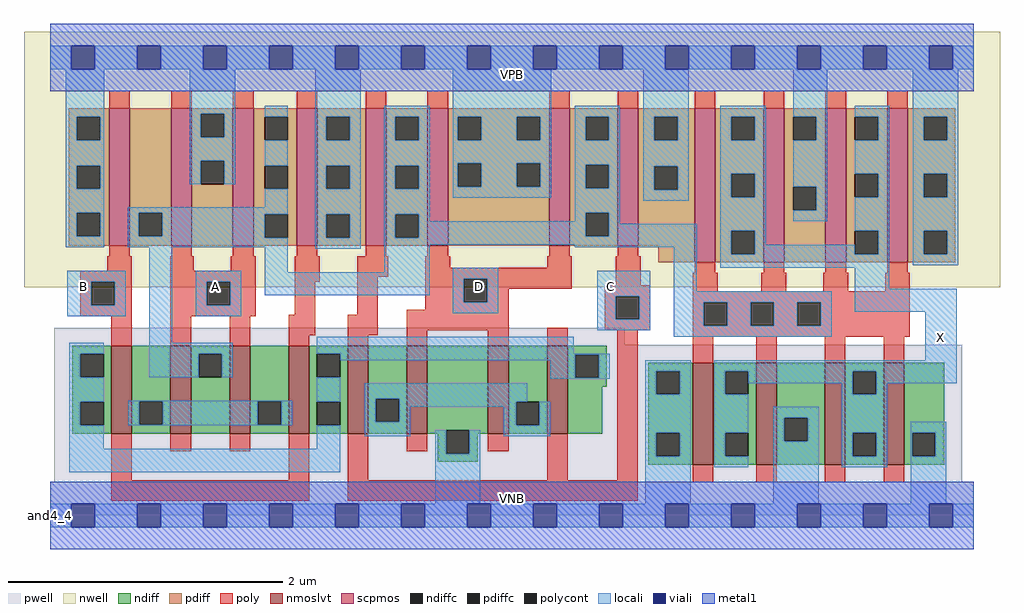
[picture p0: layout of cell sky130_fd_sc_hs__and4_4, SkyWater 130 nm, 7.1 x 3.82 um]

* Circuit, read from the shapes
.subckt sky130_fd_sc_hs__and4_4 A B C D VGND VNB VPB VPWR X
XM1 n1 B n2 VNB sky130_fd_pr__nfet_01v8_lvt w=0.64 l=0.15 m=2
XM2 n3 A n1 VNB sky130_fd_pr__nfet_01v8_lvt w=0.64 l=0.15 m=2
XM3 n4 C n2 VNB sky130_fd_pr__nfet_01v8_lvt w=0.64 l=0.15 m=2
XM4 VGND D n4 VNB sky130_fd_pr__nfet_01v8_lvt w=0.64 l=0.15 m=2
XM5 X n3 VGND VNB sky130_fd_pr__nfet_01v8_lvt w=0.74 l=0.15 m=4
XM6 n3 B VPWR VPB sky130_fd_pr__pfet_01v8 w=1 l=0.15 m=2
XM7 VPWR A n3 VPB sky130_fd_pr__pfet_01v8 w=1 l=0.15 m=2
XM8 n3 C VPWR VPB sky130_fd_pr__pfet_01v8 w=1 l=0.15 m=2
XM9 VPWR D n3 VPB sky130_fd_pr__pfet_01v8 w=1 l=0.15 m=2
XM10 X n3 VPWR VPB sky130_fd_pr__pfet_01v8 w=1.12 l=0.15 m=4
.ends

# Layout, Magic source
magic
tech sky130A
magscale 1 2
<< nwell >>
rect -38 332 1382 704
<< pwell >>
rect 6 248 836 273
rect 6 49 1327 248
rect 0 0 1344 49
<< scpmos >>
rect 86 392 116 592
rect 176 392 206 592
rect 266 392 296 592
rect 359 392 389 592
rect 459 392 489 592
rect 549 392 579 592
rect 726 392 756 592
rect 826 392 856 592
rect 938 368 968 592
rect 1038 368 1068 592
rect 1128 368 1158 592
rect 1218 368 1248 592
<< nmoslvt >>
rect 89 119 119 247
rect 175 119 205 247
rect 261 119 291 247
rect 347 119 377 247
rect 433 119 463 247
rect 519 119 549 247
rect 637 119 667 247
rect 723 119 753 247
rect 935 74 965 222
rect 1027 74 1057 222
rect 1127 74 1157 222
rect 1213 74 1243 222
<< ndiff >>
rect 32 235 89 247
rect 32 201 44 235
rect 78 201 89 235
rect 32 165 89 201
rect 32 131 44 165
rect 78 131 89 165
rect 32 119 89 131
rect 119 166 175 247
rect 119 132 130 166
rect 164 132 175 166
rect 119 119 175 132
rect 205 235 261 247
rect 205 201 216 235
rect 250 201 261 235
rect 205 119 261 201
rect 291 166 347 247
rect 291 132 302 166
rect 336 132 347 166
rect 291 119 347 132
rect 377 235 433 247
rect 377 201 388 235
rect 422 201 433 235
rect 377 165 433 201
rect 377 131 388 165
rect 422 131 433 165
rect 377 119 433 131
rect 463 170 519 247
rect 463 136 474 170
rect 508 136 519 170
rect 463 119 519 136
rect 549 124 637 247
rect 549 119 576 124
rect 564 90 576 119
rect 610 119 637 124
rect 667 165 723 247
rect 667 131 678 165
rect 712 131 723 165
rect 667 119 723 131
rect 753 234 810 247
rect 753 200 764 234
rect 798 200 810 234
rect 753 187 810 200
rect 753 119 803 187
rect 610 90 622 119
rect 564 78 622 90
rect 870 210 935 222
rect 870 176 882 210
rect 916 176 935 210
rect 870 120 935 176
rect 870 86 882 120
rect 916 86 935 120
rect 870 74 935 86
rect 965 210 1027 222
rect 965 176 982 210
rect 1016 176 1027 210
rect 965 120 1027 176
rect 965 86 982 120
rect 1016 86 1027 120
rect 965 74 1027 86
rect 1057 142 1127 222
rect 1057 108 1068 142
rect 1102 108 1127 142
rect 1057 74 1127 108
rect 1157 210 1213 222
rect 1157 176 1168 210
rect 1202 176 1213 210
rect 1157 120 1213 176
rect 1157 86 1168 120
rect 1202 86 1213 120
rect 1157 74 1213 86
rect 1243 120 1301 222
rect 1243 86 1254 120
rect 1288 86 1301 120
rect 1243 74 1301 86
<< pdiff >>
rect 27 580 86 592
rect 27 546 39 580
rect 73 546 86 580
rect 27 509 86 546
rect 27 475 39 509
rect 73 475 86 509
rect 27 440 86 475
rect 27 406 39 440
rect 73 406 86 440
rect 27 392 86 406
rect 116 440 176 592
rect 116 406 129 440
rect 163 406 176 440
rect 116 392 176 406
rect 206 584 266 592
rect 206 550 219 584
rect 253 550 266 584
rect 206 516 266 550
rect 206 482 219 516
rect 253 482 266 516
rect 206 392 266 482
rect 296 580 359 592
rect 296 546 312 580
rect 346 546 359 580
rect 296 509 359 546
rect 296 475 312 509
rect 346 475 359 509
rect 296 438 359 475
rect 296 404 312 438
rect 346 404 359 438
rect 296 392 359 404
rect 389 580 459 592
rect 389 546 402 580
rect 436 546 459 580
rect 389 509 459 546
rect 389 475 402 509
rect 436 475 459 509
rect 389 438 459 475
rect 389 404 402 438
rect 436 404 459 438
rect 389 392 459 404
rect 489 580 549 592
rect 489 546 502 580
rect 536 546 549 580
rect 489 509 549 546
rect 489 475 502 509
rect 536 475 549 509
rect 489 438 549 475
rect 489 404 502 438
rect 536 404 549 438
rect 489 392 549 404
rect 579 580 726 592
rect 579 546 593 580
rect 627 546 679 580
rect 713 546 726 580
rect 579 512 726 546
rect 579 478 593 512
rect 627 478 679 512
rect 713 478 726 512
rect 579 392 726 478
rect 756 580 826 592
rect 756 546 779 580
rect 813 546 826 580
rect 756 510 826 546
rect 756 476 779 510
rect 813 476 826 510
rect 756 440 826 476
rect 756 406 779 440
rect 813 406 826 440
rect 756 392 826 406
rect 856 580 938 592
rect 856 546 879 580
rect 913 546 938 580
rect 856 508 938 546
rect 856 474 879 508
rect 913 474 938 508
rect 856 392 938 474
rect 885 368 938 392
rect 968 580 1038 592
rect 968 546 991 580
rect 1025 546 1038 580
rect 968 497 1038 546
rect 968 463 991 497
rect 1025 463 1038 497
rect 968 414 1038 463
rect 968 380 991 414
rect 1025 380 1038 414
rect 968 368 1038 380
rect 1068 580 1128 592
rect 1068 546 1081 580
rect 1115 546 1128 580
rect 1068 478 1128 546
rect 1068 444 1081 478
rect 1115 444 1128 478
rect 1068 368 1128 444
rect 1158 580 1218 592
rect 1158 546 1171 580
rect 1205 546 1218 580
rect 1158 497 1218 546
rect 1158 463 1171 497
rect 1205 463 1218 497
rect 1158 414 1218 463
rect 1158 380 1171 414
rect 1205 380 1218 414
rect 1158 368 1218 380
rect 1248 580 1317 592
rect 1248 546 1271 580
rect 1305 546 1317 580
rect 1248 497 1317 546
rect 1248 463 1271 497
rect 1305 463 1317 497
rect 1248 414 1317 463
rect 1248 380 1271 414
rect 1305 380 1317 414
rect 1248 368 1317 380
<< ndiffc >>
rect 44 201 78 235
rect 44 131 78 165
rect 130 132 164 166
rect 216 201 250 235
rect 302 132 336 166
rect 388 201 422 235
rect 388 131 422 165
rect 474 136 508 170
rect 576 90 610 124
rect 678 131 712 165
rect 764 200 798 234
rect 882 176 916 210
rect 882 86 916 120
rect 982 176 1016 210
rect 982 86 1016 120
rect 1068 108 1102 142
rect 1168 176 1202 210
rect 1168 86 1202 120
rect 1254 86 1288 120
<< pdiffc >>
rect 39 546 73 580
rect 39 475 73 509
rect 39 406 73 440
rect 129 406 163 440
rect 219 550 253 584
rect 219 482 253 516
rect 312 546 346 580
rect 312 475 346 509
rect 312 404 346 438
rect 402 546 436 580
rect 402 475 436 509
rect 402 404 436 438
rect 502 546 536 580
rect 502 475 536 509
rect 502 404 536 438
rect 593 546 627 580
rect 679 546 713 580
rect 593 478 627 512
rect 679 478 713 512
rect 779 546 813 580
rect 779 476 813 510
rect 779 406 813 440
rect 879 546 913 580
rect 879 474 913 508
rect 991 546 1025 580
rect 991 463 1025 497
rect 991 380 1025 414
rect 1081 546 1115 580
rect 1081 444 1115 478
rect 1171 546 1205 580
rect 1171 463 1205 497
rect 1171 380 1205 414
rect 1271 546 1305 580
rect 1271 463 1305 497
rect 1271 380 1305 414
<< poly >>
rect 86 592 116 618
rect 176 592 206 618
rect 266 592 296 618
rect 359 592 389 618
rect 459 592 489 618
rect 549 592 579 618
rect 726 592 756 618
rect 826 592 856 618
rect 938 592 968 618
rect 1038 592 1068 618
rect 1128 592 1158 618
rect 1218 592 1248 618
rect 86 377 116 392
rect 176 377 206 392
rect 266 377 296 392
rect 359 377 389 392
rect 459 377 489 392
rect 549 377 579 392
rect 726 377 756 392
rect 826 377 856 392
rect 83 356 119 377
rect 44 340 119 356
rect 44 306 60 340
rect 94 306 119 340
rect 44 290 119 306
rect 89 247 119 290
rect 175 356 209 377
rect 263 356 299 377
rect 175 340 299 356
rect 175 306 228 340
rect 262 306 299 340
rect 175 290 299 306
rect 356 340 392 377
rect 447 347 492 377
rect 546 360 582 377
rect 723 360 759 377
rect 356 292 386 340
rect 447 292 477 347
rect 546 344 759 360
rect 546 310 602 344
rect 636 330 759 344
rect 823 335 859 377
rect 938 353 968 368
rect 1038 353 1068 368
rect 1128 353 1158 368
rect 1218 353 1248 368
rect 636 310 667 330
rect 546 299 667 310
rect 175 247 205 290
rect 261 247 291 290
rect 347 262 386 292
rect 433 262 477 292
rect 519 269 667 299
rect 807 319 873 335
rect 807 285 823 319
rect 857 285 873 319
rect 347 247 377 262
rect 433 247 463 262
rect 519 247 549 269
rect 637 247 667 269
rect 723 247 753 273
rect 807 269 873 285
rect 935 326 971 353
rect 1035 326 1071 353
rect 1125 326 1161 353
rect 1215 326 1251 353
rect 935 310 1251 326
rect 935 276 951 310
rect 985 276 1019 310
rect 1053 276 1087 310
rect 1121 276 1251 310
rect 89 51 119 119
rect 175 93 205 119
rect 261 93 291 119
rect 347 51 377 119
rect 89 21 377 51
rect 433 51 463 119
rect 519 93 549 119
rect 637 93 667 119
rect 723 51 753 119
rect 825 51 855 269
rect 935 260 1251 276
rect 935 222 965 260
rect 1027 222 1057 260
rect 1127 222 1157 260
rect 1213 222 1243 260
rect 433 21 855 51
rect 935 48 965 74
rect 1027 48 1057 74
rect 1127 48 1157 74
rect 1213 48 1243 74
<< polycont >>
rect 60 306 94 340
rect 228 306 262 340
rect 602 310 636 344
rect 823 285 857 319
rect 951 276 985 310
rect 1019 276 1053 310
rect 1087 276 1121 310
<< locali >>
rect 0 649 31 683
rect 65 649 127 683
rect 161 649 223 683
rect 257 649 319 683
rect 353 649 415 683
rect 449 649 511 683
rect 545 649 607 683
rect 641 649 703 683
rect 737 649 799 683
rect 833 649 895 683
rect 929 649 991 683
rect 1025 649 1087 683
rect 1121 649 1183 683
rect 1217 649 1279 683
rect 1313 649 1344 683
rect 23 580 79 649
rect 23 546 39 580
rect 73 546 79 580
rect 23 509 79 546
rect 23 475 39 509
rect 73 475 79 509
rect 203 584 269 649
rect 203 550 219 584
rect 253 550 269 584
rect 203 516 269 550
rect 203 482 219 516
rect 253 482 269 516
rect 312 580 346 596
rect 312 509 346 546
rect 23 440 79 475
rect 312 448 346 475
rect 23 406 39 440
rect 73 406 79 440
rect 23 390 79 406
rect 113 440 346 448
rect 113 406 129 440
rect 163 438 346 440
rect 163 406 312 438
rect 113 404 312 406
rect 113 390 346 404
rect 25 340 110 356
rect 25 306 60 340
rect 94 306 110 340
rect 25 290 110 306
rect 144 251 178 390
rect 212 340 278 356
rect 212 306 228 340
rect 262 306 278 340
rect 312 354 346 390
rect 386 580 452 649
rect 386 546 402 580
rect 436 546 452 580
rect 386 509 452 546
rect 386 475 402 509
rect 436 475 452 509
rect 386 438 452 475
rect 386 404 402 438
rect 436 404 452 438
rect 386 388 452 404
rect 486 580 552 596
rect 486 546 502 580
rect 536 546 552 580
rect 486 509 552 546
rect 486 475 502 509
rect 536 475 552 509
rect 486 438 552 475
rect 586 580 729 649
rect 586 546 593 580
rect 627 546 679 580
rect 713 546 729 580
rect 586 512 729 546
rect 586 478 593 512
rect 627 478 679 512
rect 713 478 729 512
rect 586 462 729 478
rect 763 580 829 596
rect 763 546 779 580
rect 813 546 829 580
rect 763 510 829 546
rect 763 476 779 510
rect 813 476 829 510
rect 486 404 502 438
rect 536 428 552 438
rect 763 440 829 476
rect 863 580 929 649
rect 863 546 879 580
rect 913 546 929 580
rect 863 508 929 546
rect 863 474 879 508
rect 913 474 929 508
rect 863 458 929 474
rect 975 580 1041 596
rect 975 546 991 580
rect 1025 546 1041 580
rect 975 497 1041 546
rect 975 463 991 497
rect 1025 463 1041 497
rect 763 428 779 440
rect 536 406 779 428
rect 813 424 829 440
rect 813 406 941 424
rect 536 404 941 406
rect 486 394 941 404
rect 486 354 552 394
rect 763 390 941 394
rect 312 320 552 354
rect 586 344 652 360
rect 212 290 278 306
rect 586 310 602 344
rect 636 310 652 344
rect 586 294 652 310
rect 796 319 873 356
rect 796 285 823 319
rect 857 285 873 319
rect 796 269 873 285
rect 907 326 941 390
rect 975 414 1041 463
rect 1081 580 1131 649
rect 1115 546 1131 580
rect 1081 478 1131 546
rect 1115 444 1131 478
rect 1081 428 1131 444
rect 1171 580 1221 596
rect 1205 546 1221 580
rect 1171 497 1221 546
rect 1205 463 1221 497
rect 975 380 991 414
rect 1025 394 1041 414
rect 1171 414 1221 463
rect 1025 380 1171 394
rect 1205 380 1221 414
rect 975 360 1221 380
rect 1255 580 1321 649
rect 1255 546 1271 580
rect 1305 546 1321 580
rect 1255 497 1321 546
rect 1255 463 1271 497
rect 1305 463 1321 497
rect 1255 414 1321 463
rect 1255 380 1271 414
rect 1305 380 1321 414
rect 1255 364 1321 380
rect 1171 330 1221 360
rect 907 310 1137 326
rect 907 276 951 310
rect 985 276 1019 310
rect 1053 276 1087 310
rect 1121 276 1137 310
rect 1171 296 1319 330
rect 907 260 1137 276
rect 28 235 78 251
rect 28 201 44 235
rect 144 235 266 251
rect 144 201 216 235
rect 250 201 266 235
rect 388 235 762 260
rect 422 234 814 235
rect 422 226 764 234
rect 28 165 78 201
rect 28 131 44 165
rect 114 166 352 167
rect 114 132 130 166
rect 164 132 302 166
rect 336 132 352 166
rect 114 131 352 132
rect 388 165 422 201
rect 728 200 764 226
rect 798 200 814 234
rect 1273 226 1319 296
rect 728 199 814 200
rect 866 210 932 226
rect 28 97 78 131
rect 388 97 422 131
rect 458 170 694 192
rect 458 136 474 170
rect 508 165 694 170
rect 866 176 882 210
rect 916 176 932 210
rect 508 158 678 165
rect 508 136 524 158
rect 458 115 524 136
rect 660 131 678 158
rect 712 131 728 165
rect 28 63 422 97
rect 560 90 576 124
rect 610 90 626 124
rect 660 115 728 131
rect 866 120 932 176
rect 560 17 626 90
rect 866 86 882 120
rect 916 86 932 120
rect 866 17 932 86
rect 966 210 1319 226
rect 966 176 982 210
rect 1016 192 1168 210
rect 966 120 1016 176
rect 1152 176 1168 192
rect 1202 192 1319 210
rect 1202 176 1218 192
rect 966 86 982 120
rect 966 70 1016 86
rect 1052 142 1118 158
rect 1052 108 1068 142
rect 1102 108 1118 142
rect 1052 17 1118 108
rect 1152 120 1218 176
rect 1152 86 1168 120
rect 1202 86 1218 120
rect 1152 70 1218 86
rect 1252 120 1304 136
rect 1252 86 1254 120
rect 1288 86 1304 120
rect 1252 17 1304 86
rect 0 -17 31 17
rect 65 -17 127 17
rect 161 -17 223 17
rect 257 -17 319 17
rect 353 -17 415 17
rect 449 -17 511 17
rect 545 -17 607 17
rect 641 -17 703 17
rect 737 -17 799 17
rect 833 -17 895 17
rect 929 -17 991 17
rect 1025 -17 1087 17
rect 1121 -17 1183 17
rect 1217 -17 1279 17
rect 1313 -17 1344 17
<< viali >>
rect 31 649 65 683
rect 127 649 161 683
rect 223 649 257 683
rect 319 649 353 683
rect 415 649 449 683
rect 511 649 545 683
rect 607 649 641 683
rect 703 649 737 683
rect 799 649 833 683
rect 895 649 929 683
rect 991 649 1025 683
rect 1087 649 1121 683
rect 1183 649 1217 683
rect 1279 649 1313 683
rect 31 -17 65 17
rect 127 -17 161 17
rect 223 -17 257 17
rect 319 -17 353 17
rect 415 -17 449 17
rect 511 -17 545 17
rect 607 -17 641 17
rect 703 -17 737 17
rect 799 -17 833 17
rect 895 -17 929 17
rect 991 -17 1025 17
rect 1087 -17 1121 17
rect 1183 -17 1217 17
rect 1279 -17 1313 17
<< metal1 >>
rect 0 683 1344 715
rect 0 649 31 683
rect 65 649 127 683
rect 161 649 223 683
rect 257 649 319 683
rect 353 649 415 683
rect 449 649 511 683
rect 545 649 607 683
rect 641 649 703 683
rect 737 649 799 683
rect 833 649 895 683
rect 929 649 991 683
rect 1025 649 1087 683
rect 1121 649 1183 683
rect 1217 649 1279 683
rect 1313 649 1344 683
rect 0 617 1344 649
rect 0 17 1344 49
rect 0 -17 31 17
rect 65 -17 127 17
rect 161 -17 223 17
rect 257 -17 319 17
rect 353 -17 415 17
rect 449 -17 511 17
rect 545 -17 607 17
rect 641 -17 703 17
rect 737 -17 799 17
rect 833 -17 895 17
rect 929 -17 991 17
rect 1025 -17 1087 17
rect 1121 -17 1183 17
rect 1217 -17 1279 17
rect 1313 -17 1344 17
rect 0 -49 1344 -17
<< labels >>
rlabel comment s 0 0 0 0 4 and4_4
flabel pwell s 0 0 1344 49 0 FreeSans 200 0 0 0 VNB
port 6 nsew ground bidirectional
flabel nwell s 0 617 1344 666 0 FreeSans 200 0 0 0 VPB
port 7 nsew power bidirectional
flabel metal1 s 0 617 1344 666 0 FreeSans 340 0 0 0 VPWR
port 8 nsew power bidirectional
flabel metal1 s 0 0 1344 49 0 FreeSans 340 0 0 0 VGND
port 5 nsew ground bidirectional
flabel locali s 607 316 641 350 0 FreeSans 340 0 0 0 D
port 4 nsew signal input
flabel locali s 799 316 833 350 0 FreeSans 340 0 0 0 C
port 3 nsew signal input
flabel locali s 31 316 65 350 0 FreeSans 340 0 0 0 B
port 2 nsew signal input
flabel locali s 223 316 257 350 0 FreeSans 340 0 0 0 A
port 1 nsew signal input
flabel locali s 1279 242 1313 276 0 FreeSans 340 0 0 0 X
port 9 nsew signal output
<< properties >>
string LEFsite unit
string LEFclass CORE
string FIXED_BBOX 0 0 1344 666
string GDS_FILE $PDKPATH/libs.ref/sky130_fd_sc_hs/gds/sky130_fd_sc_hs.gds
string LEFsymmetry X Y
string GDS_END 3406070
string GDS_START 3395140
<< end >>
